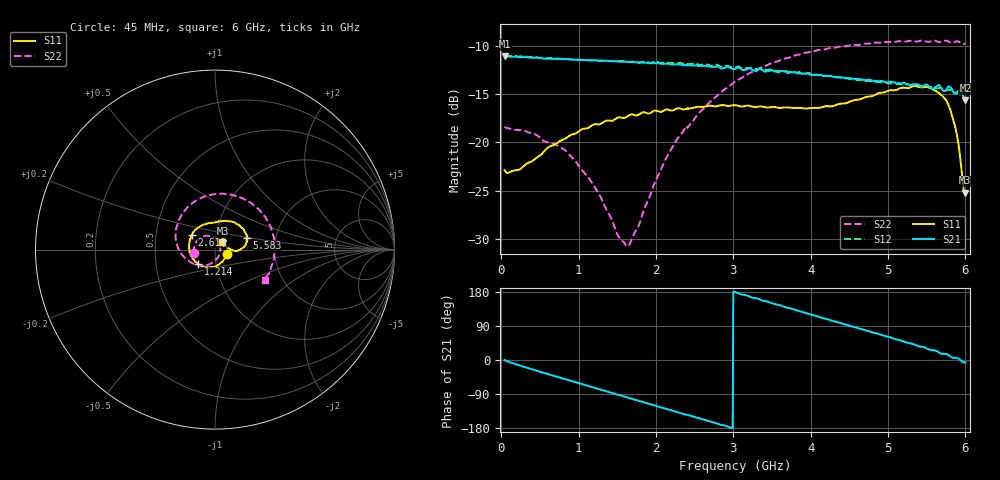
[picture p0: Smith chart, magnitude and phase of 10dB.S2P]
! C:\Users\Aljaz\OneDrive - Univerza v Ljubljani\DOKTORAT\NOVI SA\Slabilec PE43711B\meritve\10dB.S2P
! Touchstone 1.1 file saved by VNA.EXE V1.65 (www.ke5fx.com/gpib/readme.htm)
! 2. 04. 2022 19:18:26
!  Source: HP8510C.07.14: Aug 26  1998
!  Min freq: 4.500000E+007 Hz
!  Max freq: 6.000000E+009 Hz
!  Points: 801
!  Params: S11 S21 S12 S22
# GHZ S DB R 50
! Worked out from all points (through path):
!   801 points, 45 MHz to 6 GHz, reference 50 ohm
!   highest |S21| = -11.10 dB at 52.44 MHz (marker M1); lowest = -15.6 dB at 6 GHz (marker M2)
!   group delay of S21, straight-line fit = 166 ps
!   lowest |S11| = -25.2 dB at 5.993 GHz (marker M3), VSWR 1.12, Z = 54.3 + j3.82 ohm
!   |S11| at or under -10 dB: start of sweep to end of sweep
!   |S22| runs from -30.7 to -9.4 dB; largest |S21 - S12| = 0.013
!   S11 on the Smith chart (normalised r, x): 45 MHz: 1.14, -0.06; 1.214 GHz: 0.82, -0.14; 2.613 GHz: 0.76, +0.13; 5.583 GHz: 1.42, +0.18; 6 GHz: 1.08, +0.09
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0.045  -22.87 -22.3  -11.11 -0.2  -11.02 -0.3  -18.37 -170.4
0.05244375  -22.96 -21.5  -11.10 -1.1  -11.02 -1.1  -18.44 -172.7
0.2385375  -22.81 -42.6  -11.16 -14.4  -11.10 -14.4  -18.71 165.9
0.7596  -19.86 -104.1  -11.36 -46.5  -11.34 -46.6  -20.47 127.0
1.042463  -18.64 -126.6  -11.47 -63.4  -11.49 -63.4  -22.80 103.1
1.213669  -18.12 -138.6  -11.49 -73.8  -11.55 -73.4  -24.67 84.2
1.511419  -17.42 -157.8  -11.62 -91.7  -11.63 -90.9  -29.65 30.8
1.630519  -17.31 -165.0  -11.66 -98.9  -11.65 -98.3  -30.69 -5.9
2.032481  -16.78 175.9  -11.80 -123.0  -11.70 -122.6  -23.34 -95.4
2.278125  -16.47 163.3  -11.91 -137.6  -11.82 -137.1  -19.62 -121.7
2.613094  -16.33 146.7  -12.08 -156.8  -11.91 -156.7  -16.53 -150.3
3.0225  -16.15 129.5  -12.39 179.3  -12.25 178.7  -13.73 177.5
3.506344  -16.32 110.0  -12.53 149.7  -12.48 149.3  -11.75 142.6
4.019963  -16.43 93.7  -13.01 119.0  -12.92 118.1  -10.60 107.4
4.541025  -15.66 76.0  -13.38 88.1  -13.45 87.7  -9.91 72.8
5.009981  -14.64 55.3  -13.77 61.0  -13.86 60.8  -9.60 41.5
5.58315  -14.52 19.5  -14.45 26.1  -14.34 25.6  -9.46 0.9
5.739469  -15.52 6.7  -14.66 16.1  -14.59 15.6  -9.47 -10.5
5.82135  -17.05 0.2  -14.44 7.3  -14.61 9.7  -9.69 -16.6
5.895787  -19.44 -3.6  -14.74 4.9  -14.93 4.3  -9.53 -22.3
5.992556  -25.21 39.7  -15.56 -6.5  -15.46 -3.5  -9.78 -30.4
6  -25.03 46.6  -15.63 -6.5  -15.53 -4.1  -9.76 -31.1
